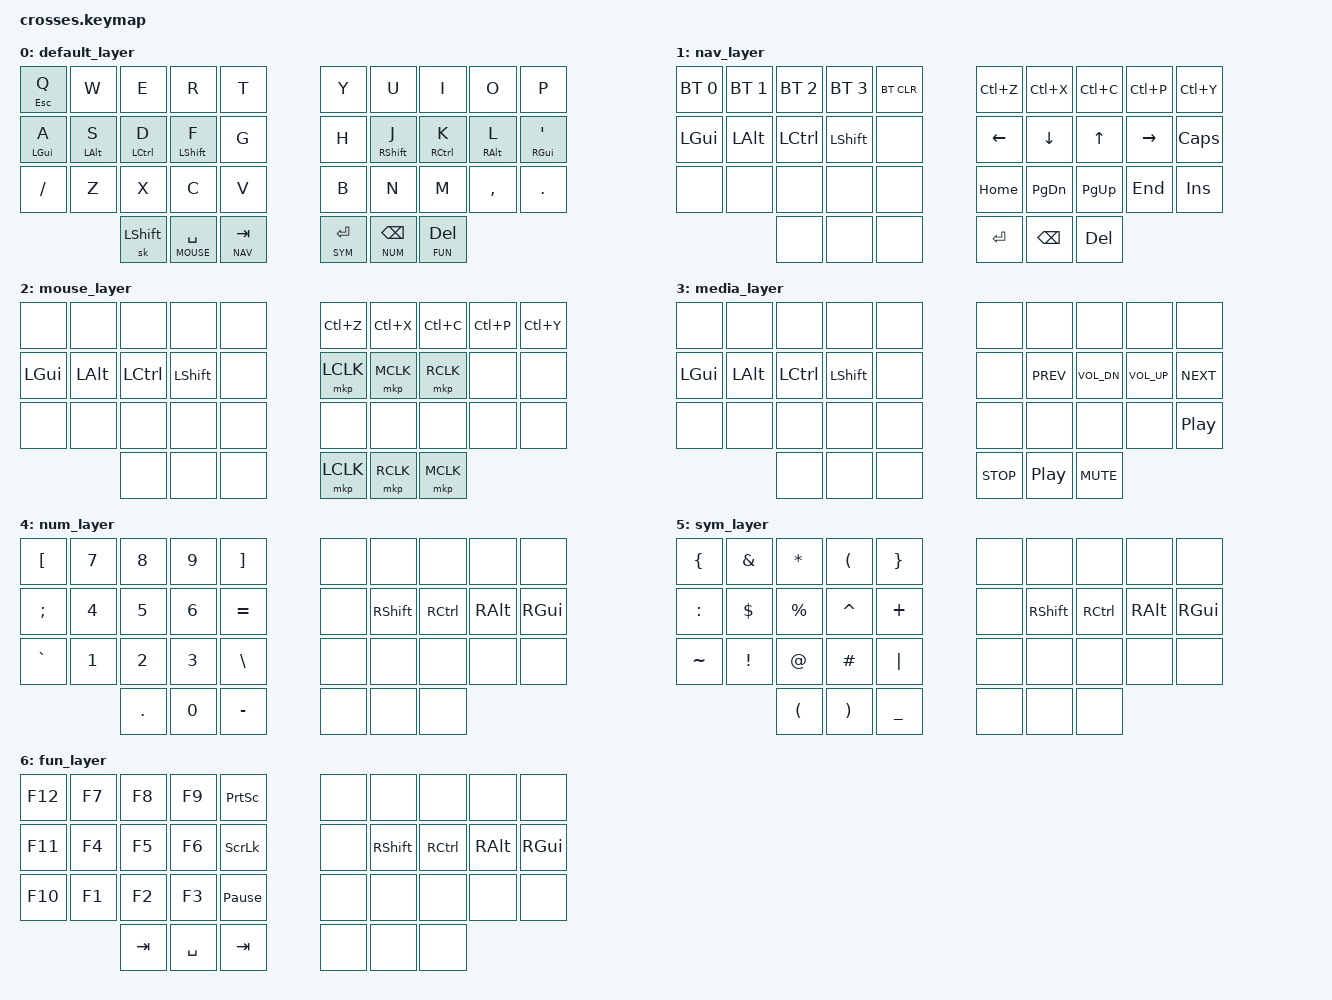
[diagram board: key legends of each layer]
#include <behaviors.dtsi>
#include <dt-bindings/zmk/keys.h>
#include <dt-bindings/zmk/bt.h>
#include <dt-bindings/zmk/pointing.h>
#include <dt-bindings/zmk/rgb.h>

/* Miryoku Layer Definitions */
#define BASE 0
#define NAV 1
#define MOUSE 2
#define MEDIA 3
#define NUM 4
#define SYM 5
#define FUN 6

/* Global Behavior Settings */
&lt {
    tapping-term-ms = <400>;
    flavor = "tap-preferred";
    quick-tap-ms = <150>;
};

/ {
    behaviors {
        /* Home Row Mods: Tap for key, Hold for mod */
        hm: homerow_mods {
            compatible = "zmk,behavior-hold-tap";
            label = "HOMEROW_MODS";
            #binding-cells = <2>;
            tapping-term-ms = <400>;
            quick-tap-ms = <150>;
            flavor = "tap-preferred";
            bindings = <&kp>, <&kp>;
        };
    };

    keymap {
        compatible = "zmk,keymap";

        /* * BASE LAYER (QWERTY)
         * Left:  Win / Alt / Ctrl / Shift
         * Right: Shift / Ctrl / Alt / Win
         */
        default_layer {
            bindings = <
&hm ESC Q       &kp W       &kp E       &kp R          &kp T          &kp Y          &kp U          &kp I       &kp O       &kp P
&hm LGUI A  &hm LALT S  &hm LCTRL D &hm LSHIFT F   &kp G          &kp H          &hm RSHIFT J   &hm RCTRL K &hm RALT L  &hm RGUI SQT
&kp SLASH   &kp Z       &kp X       &kp C       &kp V          &kp B          &kp N          &kp M          &kp COMMA   &kp DOT
                        &sk LSHIFT  &lt MOUSE SPACE  &lt NAV TAB  &lt SYM RET    &lt NUM BSPC   &lt FUN DEL
            >;
        };

        /*
         * NAV LAYER (Left Thumb: Space)
         * Right Hand: Vim-style navigation, Editing
         */
        nav_layer {
            bindings = <
&bt BT_SEL 0  &bt BT_SEL 1  &bt BT_SEL 2  &bt BT_SEL 3  &bt BT_CLR     &kp LC(Z)      &kp LC(X)     &kp LC(C)    &kp LC(P)   &kp LC(Y)
&kp LGUI      &kp LALT      &kp LCTRL     &kp LSHIFT    &none          &kp LEFT       &kp DOWN       &kp UP      &kp RIGHT   &kp CAPSLOCK
&none         &none         &none         &none         &none          &kp HOME       &kp PG_DN      &kp PG_UP   &kp END     &kp INS
                        &none       &none       &none          &kp RET        &kp BSPC       &kp DEL
            >;
        };

        /*
         * MOUSE LAYER (Left Thumb: Tab)
         * Right Hand: Mouse movement and clicks
         */
        mouse_layer {
            bindings = <
&none       &none       &none       &none       &none          &kp LC(Z)     &kp LC(X)    &kp LC(C)  &kp LC(P)   &kp LC(Y)
&kp LGUI    &kp LALT    &kp LCTRL   &kp LSHIFT  &none          &mkp LCLK      &mkp MCLK      &mkp RCLK   &none       &none
&none       &none       &none       &none       &none          &none          &none          &none       &none       &none
                        &none       &none       &none          &mkp LCLK      &mkp RCLK      &mkp MCLK
            >;
        };

        /*
         * MEDIA LAYER (Left Thumb: Esc)
         * Right Hand: Media, Volume, RGB
         */
        media_layer {
            bindings = <
&none       &none       &none       &none       &none          &none          &none          &none       &none       &none
&kp LGUI    &kp LALT    &kp LCTRL   &kp LSHIFT  &none          &none          &kp C_PREV     &kp C_VOL_DN &kp C_VOL_UP &kp C_NEXT
&none       &none       &none       &none       &none          &none          &none          &none       &none       &kp C_PP
                        &none       &none       &none          &kp C_STOP     &kp C_PP       &kp C_MUTE
            >;
        };

        /*
         * NUM LAYER (Right Thumb: Backspace)
         * Left Hand: Numpad
         */
        num_layer {
            bindings = <
&kp LBKT    &kp N7      &kp N8      &kp N9      &kp RBKT       &none          &none          &none       &none       &none
&kp SEMI    &kp N4      &kp N5      &kp N6      &kp EQUAL      &none          &kp RSHIFT     &kp RCTRL   &kp RALT    &kp RGUI
&kp GRAVE   &kp N1      &kp N2      &kp N3      &kp BSLH       &none          &none          &none       &none       &none
                        &kp DOT     &kp N0      &kp MINUS      &none          &none          &none
            >;
        };

        /*
         * SYM LAYER (Right Thumb: Enter)
         * Left Hand: Symbols (Shifted Numpad)
         */
        sym_layer {
            bindings = <
&kp LBRC    &kp AMPERSAND &kp STAR    &kp LPAR    &kp RBRC       &none          &none          &none       &none       &none
&kp COLON   &kp DLLR      &kp PERCENT &kp CARET   &kp PLUS       &none          &kp RSHIFT     &kp RCTRL   &kp RALT    &kp RGUI
&kp TILDE   &kp EXCL      &kp AT      &kp HASH    &kp PIPE       &none          &none          &none       &none       &none
                          &kp LPAR    &kp RPAR    &kp UNDER      &none          &none          &none
            >;
        };

        /*
         * FUN LAYER (Right Thumb: Delete)
         * Left Hand: F-Keys, System
         */
        fun_layer {
            bindings = <
&kp F12     &kp F7      &kp F8      &kp F9      &kp PSCRN      &none          &none          &none       &none       &none
&kp F11     &kp F4      &kp F5      &kp F6      &kp SLCK       &none          &kp RSHIFT     &kp RCTRL   &kp RALT    &kp RGUI
&kp F10     &kp F1      &kp F2      &kp F3      &kp PAUSE_BREAK &none         &none          &none       &none       &none
                        &kp TAB     &kp SPACE   &kp TAB        &none          &none          &none
            >;
        };

    };
};
